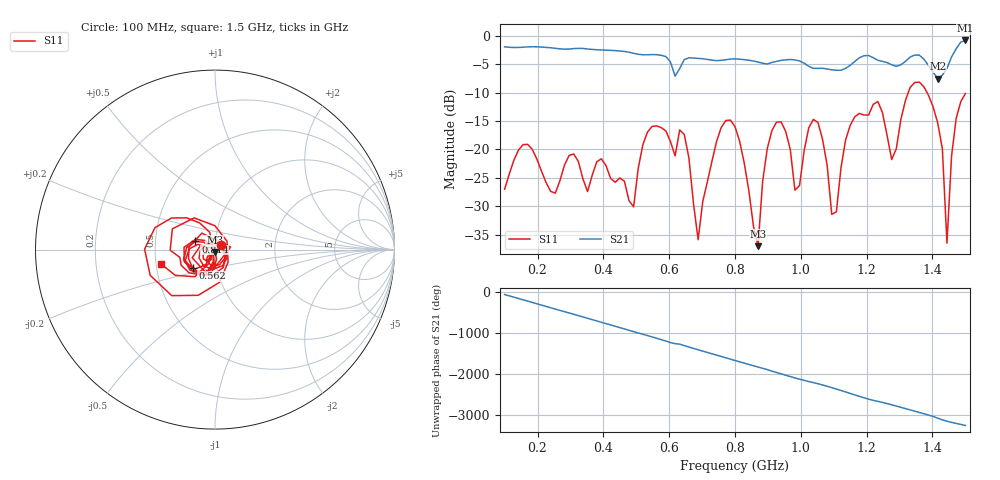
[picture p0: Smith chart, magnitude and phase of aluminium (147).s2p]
! NanoVNA-App
! Date: 2025-09-25 14:56:25
! Start: 100MHz Stop: 1,5GHz Points: 101
! S-Parameter data: F S11 S21 S12 S22
# Hz S RI R 50
!  Frequency  S11_Real  S11_Imag  S21_Real  S21_Imag  S12_Real  S12_Imag  S22_Real  S22_Imag
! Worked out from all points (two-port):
!   101 points, 100 MHz to 1.5 GHz, reference 50 ohm
!   highest |S21| = -0.79 dB at 1.5 GHz (marker M1); lowest = -7.5 dB at 1.416 GHz (marker M2)
!   |S21| within 3 dB of the highest: start of sweep to 592.3 MHz; 1.457 GHz to end of sweep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
!   lowest |S11| = -37.0 dB at 870 MHz (marker M3), VSWR 1.03, Z = 49.9 - j1.4 ohm
!   |S11| at or under -10 dB: start of sweep to 1.326 GHz; 1.384 GHz to end of sweep
!   S12 and S22 are empty: the file has one direction only
!   S11 on the Smith chart (normalised r, x): 100 MHz: 1.07, +0.06; 562 MHz: 0.76, -0.16; 814 MHz: 0.80, +0.07; 1.5 GHz: 0.53, -0.09
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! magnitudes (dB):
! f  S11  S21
! 100 MHz  -27.0  -1.9
! 156 MHz  -19.1  -2.0
! 338 MHz  -25.2  -2.2
! 492 MHz  -30.1  -3.1
! 562 MHz  -15.8  -3.3
! 576 MHz  -16.2  -3.4
! 646 MHz  -17.4  -4.2
! 688 MHz  -35.9  -4.0
! 800 MHz  -16.0  -4.0
! 814 MHz  -18.5  -4.1
! 870 MHz  -37.0  -4.6
! 912 MHz  -16.7  -4.7
! 982 MHz  -27.2  -4.2
! 1.038 GHz  -14.7  -5.7
! 1.094 GHz  -31.4  -6.0
! 1.164 GHz  -14.2  -4.5
! 1.276 GHz  -21.8  -5.1
! 1.346 GHz  -8.2  -3.4
! 1.416 GHz  -15.4  -7.5
! 1.444 GHz  -36.5  -5.7
! 1.472 GHz  -14.5  -2.3
! 1.5 GHz  -10.1  -0.8
